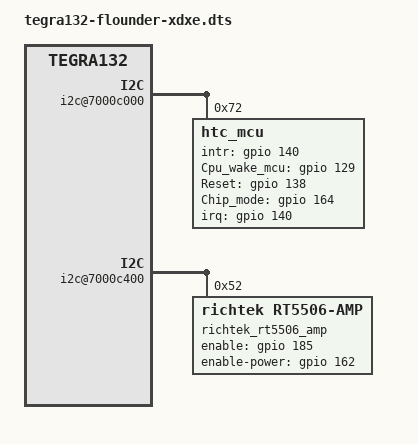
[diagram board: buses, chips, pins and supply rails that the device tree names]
/dts-v1/;

#include "tegra132-flounder-generic.dtsi"

/ {
	compatible = "google,flounder64", "nvidia,tegra132";
	hw-revision = "xd,xe";

	i2c@7000c000 {
		htc_mcu@72 {
			compatible = "htc_mcu";
			reg = <0x72>;
			interrupt-parent = <&gpio>;
			interrupts = <140 0x0>;
			mcu,intr-gpio  = <&gpio 140 0>;
			mcu,gs_chip_layout = <1>;
			mcu,acceleration_axes = <6>;
			mcu,magnetic_axes = <7>;
			mcu,gyro_axes = <6>;
			mcu,Cpu_wake_mcu-gpio = <&gpio 129 0>;
			mcu,Reset-gpio = <&gpio 138 0>;
			mcu,Chip_mode-gpio = <&gpio 164 0>;
		};
	};

	panel_jdi_qxga_8_9 {
		gpios = <&gpio TEGRA_GPIO(Q, 2) 0>,
			<&gpio TEGRA_GPIO(R, 0) 0>,
			<&gpio TEGRA_GPIO(I, 4) 0>,
			<&gpio TEGRA_GPIO(H, 5) 0>;
	};
	i2c@7000c400 {
		richtek_rt5506_amp@52 {
			compatible = "richtek,rt5506-amp";
			reg = <0x52>;
			richtek,enable-gpio = <&gpio 185 0>;
			richtek,enable-power-gpio = <&gpio 162 0>;
		};
	};
};

